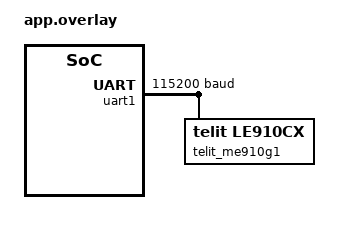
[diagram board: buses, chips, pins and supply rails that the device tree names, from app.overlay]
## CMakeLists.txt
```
# SPDX-License-Identifier: Apache-2.0

cmake_minimum_required(VERSION 3.20.0)

# Infuse-IoT application
if(NOT infuse IN_LIST SNIPPET)
  set(SNIPPET infuse ${SNIPPET} CACHE STRING "" FORCE)
endif()

find_package(Zephyr REQUIRED HINTS $ENV{ZEPHYR_BASE})
project(release_serial)

target_sources(app PRIVATE
  src/main.c
)
```

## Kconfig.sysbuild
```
# ECDSA-P256 verification is smaller than RSA-2048 in MCUboot
choice BOOT_SIGNATURE_TYPE
	default BOOT_SIGNATURE_TYPE_ECDSA_P256 if "$(BOARD)" = "nucleo_l432kc"
endchoice

config INFUSE_MCUBOOT_MULTITHREADING
	default n if "$(BOARD)" = "nucleo_l432kc"

source "share/sysbuild/Kconfig"
```

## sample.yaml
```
sample:
  description: Serial communications demo
  name: serial
common:
  tags:
    - sample
    - data_logger
    - epacket
    - gnss
    - imu
    - kv_store
    - logging
    - math
    - mcumgr
    - modem_monitor
    - net
    - rpc
    - sensor
    - states
    - task_runner
    - tdf
    - watchdog
    - zbus
  build_only: true
  filter: dt_compat_enabled("embeint,epacket-serial")
  required_snippets:
    - infuse
  depends_on:
    - watchdog
  integration_platforms:
    - nrf52840dk/nrf52840
    - nrf9160dk/nrf9160/ns
    # Temporarily disable this due to a mismatch between snippet platform name
    # discovery, twister name validations and board.yaml naming. Should be
    # resolved on Zephyr 4.0.
    # - nucleo_l432kc/stm32l432xx
tests:
  sample.releases.serial: {}
  sample.releases.serial.sysbuild:
    sysbuild: true
    filter: not CONFIG_BUILD_WITH_TFM
```

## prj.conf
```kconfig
# USB Gateway options
CONFIG_INFUSE_SDK=y
CONFIG_INFUSE_WATCHDOG=y

# Tasks
CONFIG_TASK_RUNNER=y
CONFIG_TASK_RUNNER_AUTO_ITERATE=y
CONFIG_TASK_RUNNER_TASK_TDF_LOGGER=y
CONFIG_TASK_RUNNER_TASK_BATTERY=y

# Bring-up RPC
CONFIG_INFUSE_RPC_COMMAND_ECHO=y
```

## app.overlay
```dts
/delete-node/ &uart1_default;
/delete-node/ &uart1_sleep;

&pinctrl {
	uart1_default: uart1_default {
		group1 {
			psels = <NRF_PSEL(UART_TX, 1, 14)>,
				<NRF_PSEL(UART_RTS, 1, 12)>;
			nordic,drive-mode = <NRF_DRIVE_H0H1>;
		};

		group2 {
			psels = <NRF_PSEL(UART_RX, 1, 13)>,
				<NRF_PSEL(UART_CTS, 1, 15)>;
			nordic,drive-mode = <NRF_DRIVE_H0H1>;
			bias-pull-up;
		};
	};

	uart1_sleep: uart1_sleep {
		group1 {
			psels = <NRF_PSEL(UART_TX, 1, 14)>,
				<NRF_PSEL(UART_RX, 1, 13)>,
				<NRF_PSEL(UART_RTS, 1, 12)>,
				<NRF_PSEL(UART_CTS, 1, 15)>;
			low-power-enable;
		};
	};
};

/ {
	chosen {
		zephyr,ppp-uart = &uart1;
	};

	aliases {
		modem = &telit_me910g1;
	};
};

&arduino_spi {
	status = "disabled";
};

&uart1 {
	status = "okay";
	current-speed = <115200>;
	hw-flow-control;

	telit_me910g1: telit_me910g1 {
		compatible = "telit,le910cx";
	};
};
```

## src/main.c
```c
/**
 * @file
 * @copyright 2024 Embeint Holdings Pty Ltd
 * @author Jordan Yates <jordan@embeint.com>
 *
 * SPDX-License-Identifier: FSL-1.1-ALv2
 */

#include <stdio.h>

#include <zephyr/kernel.h>
#include <zephyr/logging/log.h>
#include <zephyr/drivers/gpio.h>

#include <infuse/epacket/interface.h>
#include <infuse/epacket/packet.h>
#include <infuse/data_logger/high_level/tdf.h>
#include <infuse/tdf/definitions.h>
#include <infuse/drivers/watchdog.h>

#include <infuse/task_runner/runner.h>
#include <infuse/task_runner/tasks/infuse_tasks.h>

LOG_MODULE_REGISTER(app, LOG_LEVEL_INF);

GATEWAY_HANDLER_DEFINE(serial_backhaul_handler, DEVICE_DT_GET(DT_NODELABEL(epacket_serial)));

static const struct task_schedule schedules[] = {
	{
		.task_id = TASK_ID_TDF_LOGGER,
		.validity = TASK_VALID_ALWAYS,
		.periodicity_type = TASK_PERIODICITY_LOCKOUT,
		.periodicity.lockout.lockout_s = 10,
		.task_args.tdf_logger =
			{
				.loggers = TDF_DATA_LOGGER_SERIAL,
				.random_delay_ms = 1000,
				.tdfs = TASK_TDF_LOGGER_LOG_ANNOUNCE | TASK_TDF_LOGGER_LOG_BATTERY,
			},
	},
};

TASK_SCHEDULE_STATES_DEFINE(states, schedules);
TASK_RUNNER_TASKS_DEFINE(app_tasks, app_tasks_data, (TDF_LOGGER_TASK, NULL));

int main(void)
{
	const struct device *epacket_serial = DEVICE_DT_GET(DT_NODELABEL(epacket_serial));

	/* Start watchdog */
	infuse_watchdog_start();

	/* Gateway receive handlers */
	epacket_set_receive_handler(epacket_serial, serial_backhaul_handler);

	/* Always listening on serial */
	epacket_receive(epacket_serial, K_FOREVER);

	/* Send key identifiers on boot */
	epacket_send_key_ids(epacket_serial, K_FOREVER);

	/* Initialise task runner */
	task_runner_init(schedules, states, ARRAY_SIZE(schedules), app_tasks, app_tasks_data,
			 ARRAY_SIZE(app_tasks));

	/* Start auto iteration */
	task_runner_start_auto_iterate();

#if DT_NODE_HAS_STATUS_OKAY(DT_ALIAS(led0))
	/* The LED controller may be omitted from a peripheral-free build. */
	const struct gpio_dt_spec led = {
		.port = device_get_binding(DEVICE_DT_NAME(DT_GPIO_CTLR(DT_ALIAS(led0), gpios))),
		.pin = DT_GPIO_PIN(DT_ALIAS(led0), gpios),
		.dt_flags = DT_GPIO_FLAGS(DT_ALIAS(led0), gpios),
	};
	int rc = gpio_is_ready_dt(&led) ? gpio_pin_configure_dt(&led, GPIO_OUTPUT_INACTIVE)
					: -ENODEV;

	/* Blink LED once a second as proof of life when it is available. */
	while (rc == 0) {
		rc = gpio_pin_set_dt(&led, 1);
		if (rc < 0) {
			break;
		}
		k_sleep(K_MSEC(10));
		rc = gpio_pin_set_dt(&led, 0);
		k_sleep(K_MSEC(990));
	}
	LOG_WRN("Optional LED unavailable (%d)", rc);
	k_sleep(K_FOREVER);
#else
	/* No more work to do in this context */
	k_sleep(K_FOREVER);
#endif
}
```
